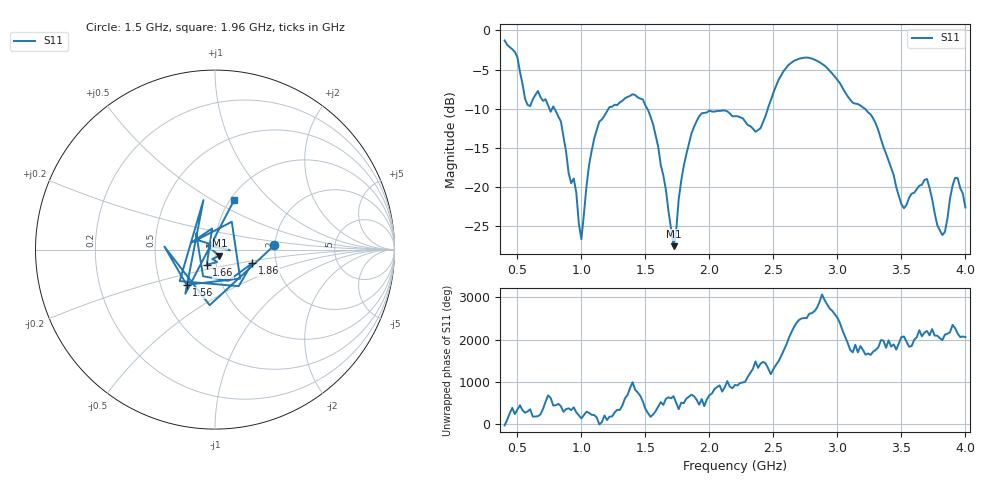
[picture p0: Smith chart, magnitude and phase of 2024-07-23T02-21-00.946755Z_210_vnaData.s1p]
!Created with skrf (http://scikit-rf.org).
# Hz S RI R 50.0
!freq ReS11 ImS11
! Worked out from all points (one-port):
!   181 points, 400 MHz to 4 GHz, reference 50 ohm
!   lowest |S11| = -27.5 dB at 1.72 GHz (marker M1), VSWR 1.09, Z = 52.4 - j3.6 ohm
!   |S11| at or under -10 dB: 790.3 MHz to 1.212 GHz (421.3 MHz wide, 42.1 % of centre); 1.515 GHz to 2.456 GHz (940.8 MHz wide, 47.4 % of centre); 3.215 GHz to end of sweep (the widest 3 of 4)
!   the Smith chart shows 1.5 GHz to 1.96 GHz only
!   S11 on the Smith chart (normalised r, x): 1.5 GHz: 1.99, +0.11; 1.56 GHz: 0.68, -0.28; 1.66 GHz: 0.90, -0.15; 1.86 GHz: 1.50, -0.24; 1.96 GHz: 1.04, +0.64
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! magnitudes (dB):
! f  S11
! 400 MHz  -1.3
! 500 MHz  -3.4
! 580 MHz  -9.5
! 660 MHz  -7.7
! 860 MHz  -13.6
! 960 MHz  -20.7
! 1 GHz  -26.7
! 1.1 GHz  -13.8
! 1.3 GHz  -9.2
! 1.5 GHz  -9.6
! 1.56 GHz  -12.0
! 1.66 GHz  -20.3
! 1.72 GHz  -27.5
! 1.76 GHz  -21.6
! 1.86 GHz  -13.1
! 1.96 GHz  -10.5
! 2.2 GHz  -10.9
! 2.4 GHz  -12.5
! 2.66 GHz  -3.9
! 2.88 GHz  -4.3
! 3.1 GHz  -8.8
! 3.28 GHz  -11.2
! 3.5 GHz  -22.2
! 3.56 GHz  -21.4
! 3.7 GHz  -19.0
! 3.82 GHz  -26.1
! 3.92 GHz  -18.8
! 4 GHz  -22.6
